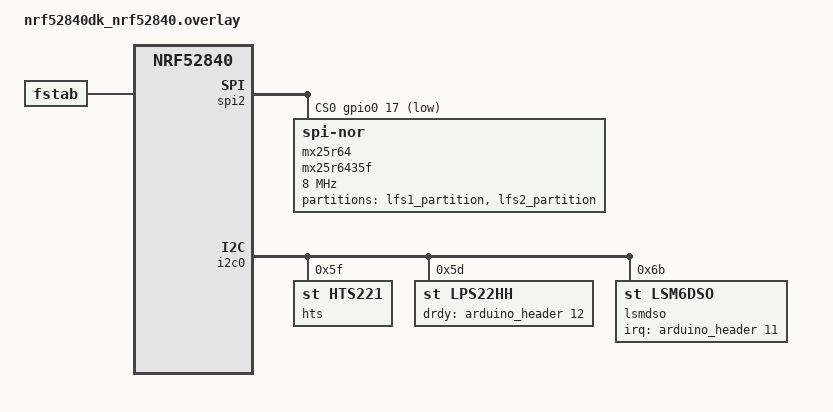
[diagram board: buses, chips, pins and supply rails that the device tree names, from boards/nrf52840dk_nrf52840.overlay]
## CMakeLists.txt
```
cmake_minimum_required(VERSION 3.20.0)

find_package(Zephyr REQUIRED HINTS $ENV{ZEPHYR_BASE})

project(zephyr_lvgl_showcase)

FILE(GLOB app_sources src/*.c)
target_sources(app PRIVATE ${app_sources})
```

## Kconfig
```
module = APP
module-str = APP
source "subsys/logging/Kconfig.template.log_config"

source "Kconfig.zephyr"
```

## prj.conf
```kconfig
CONFIG_MAIN_STACK_SIZE=10240

CONFIG_I2C=y
CONFIG_SENSOR=y
CONFIG_CBPRINTF_FP_SUPPORT=y
CONFIG_LOG=y
CONFIG_SHELL=y
CONFIG_APP_LOG_LEVEL_DBG=y
CONFIG_FLASH=y
CONFIG_FLASH_MAP=y
CONFIG_FILE_SYSTEM=y
CONFIG_FILE_SYSTEM_LITTLEFS=y
CONFIG_FILE_SYSTEM_SHELL=y
```

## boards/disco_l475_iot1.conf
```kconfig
CONFIG_LSM6DSL_TRIGGER_GLOBAL_THREAD=y
```

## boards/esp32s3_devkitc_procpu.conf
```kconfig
CONFIG_LSM6DSO_TRIGGER_GLOBAL_THREAD=y
```

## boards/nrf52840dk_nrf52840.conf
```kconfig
CONFIG_SPI=y
CONFIG_SPI_NOR=y
CONFIG_SPI_NOR_FLASH_LAYOUT_PAGE_SIZE=4096

CONFIG_LSM6DSO_TRIGGER_GLOBAL_THREAD=y
```

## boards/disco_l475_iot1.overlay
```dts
/delete-node/ &boot_partition;
/delete-node/ &slot0_partition;
/delete-node/ &storage_partition;
/delete-node/ &slot1_partition;
/delete-node/ &slot2_partition;

&flash0 {
	partitions {
		compatible = "fixed-partitions";

		boot_partition: partition@0 {
			label = "mcu-boot";
			reg = <0x0 DT_SIZE_K(64)>;
			read-only;
		};
		
		slot0_partition: partition@10000 {
			label = "image-0";
			reg = <0x10000 DT_SIZE_K(100)>;
		};

		slot1_partition: partition@29000 {
			label = "image-1";
			reg = <0x29000 DT_SIZE_K(100)>;
		};

		storage_partition: partition@42000 {
			label = "storage";
			reg = <0x42000 DT_SIZE_K(32)>;
		};

		lfs1_partition: partition@4A000 {
			label = "lfs1";
			reg = <0x4A000 DT_SIZE_K(100)>;
		};
	};
};


/ {
    aliases {
        ht-sensor = &hts;
        pressure-sensor = &lps22hb;
        imu-sensor = &lsm6dsl;
    };
};

&i2c2 {

    hts: hts221@5f {
        compatible = "st,hts221";
        reg = <0x5f>;
        drdy-gpios = <&gpiod 15 GPIO_ACTIVE_HIGH>;
    };

    lps22hb: lps22hb-press@5d {
        compatible = "st,lps22hb-press";
        reg = <0x5d>;
    };

    lsm6dsl: lsm6dsl@6a {
        compatible = "st,lsm6dsl";
        reg = <0x6a>;
        irq-gpios = <&gpiod 11 GPIO_ACTIVE_HIGH>;
    };
};
```

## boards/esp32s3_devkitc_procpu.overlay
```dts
/ {

    aliases {
        ht-sensor = &hts;
        pressure-sensor = &lps22hh;
        imu-sensor = &lsmdso;
    };
};

&i2c0 {
    status = "okay";
    hts: hts221@5f {
        compatible = "st,hts221";
        reg = <0x5f>;
    };

    lps22hh: lps22hh@5d {
        compatible = "st,lps22hh";
        reg = <0x5d>;
        drdy-gpios = <&gpio0 5 GPIO_ACTIVE_HIGH>;
    };

    lsmdso: lsm6dso@6b {
        compatible = "st,lsm6dso";
        reg = <0x6b>;
        irq-gpios = <&gpio0 11 GPIO_ACTIVE_HIGH>;
        int-pin = <2>;
    };
};
```

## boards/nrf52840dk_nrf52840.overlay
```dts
/delete-node/ &mx25r64;

&qspi {
    status = "disabled";
};

/* The mx25, on nrf52840dk/nrf52840, uses pins for spi0, spi1, spi2 and spi3
 * to provide quad-spi feature. In individual specifications each of the spi
 * notes define own clock source (SCK), but spi2 shares the same clock source
 * as qspi configuration, which is pin (0,19). That is why spi2 is used here
 * to communicate with mx25, when qspi is not used, to avoid rerouting clock
 * pin.
 */
&spi2 {
    compatible = "nordic,nrf-spi";
    status = "okay";
    cs-gpios = <&gpio0 17 GPIO_ACTIVE_LOW>;
    pinctrl-0 = <&spi2_default>;
    pinctrl-1 = <&spi2_sleep>;
    pinctrl-names = "default", "sleep";
    mx25r64: mx25r6435f@0 {
        compatible = "jedec,spi-nor";
        reg = <0>;
        spi-max-frequency = <8000000>;
        jedec-id = [c2 28 17];
        sfdp-bfp = [e5 20 f1 ff ff ff ff 03 44 eb 08 6b 08 3b 04 bb
                    ee ff ff ff ff ff 00 ff ff ff 00 ff 0c 20 0f 52
                    10 d8 00 ff 23 72 f5 00 82 ed 04 cc 44 83 68 44
                    30 b0 30 b0 f7 c4 d5 5c 00 be 29 ff f0 d0 ff ff];
        size = <67108864>;
        has-dpd;
        t-enter-dpd = <10000>;
        t-exit-dpd = <35000>;
    };
};

&mx25r64 {
    partitions {
        compatible = "fixed-partitions";
        #address-cells = <1>;
        #size-cells = <1>;

        lfs1_partition: partition@0 {
            label = "lfs1_partition";
            reg = <0x00000000 0x00010000>;
        };
        lfs2_partition: partition@10000 {
            label = "lfs2_partition";
            reg = <0x00010000 0x00010000>;
        };
    };
};

/ {

    aliases {
        ht-sensor = &hts;
        pressure-sensor = &lps22hh;
        imu-sensor = &lsmdso;
    };
};

&i2c0 {
    hts: hts221@5f {
        compatible = "st,hts221";
        reg = <0x5f>;
    };

    lps22hh: lps22hh@5d {
        compatible = "st,lps22hh";
        reg = <0x5d>;
        drdy-gpios = <&arduino_header 12 GPIO_ACTIVE_HIGH>; /* D6 */
    };

    lsmdso: lsm6dso@6b {
        compatible = "st,lsm6dso";
        reg = <0x6b>;
        irq-gpios = <&arduino_header 11 GPIO_ACTIVE_HIGH>; /* D5 */
        int-pin = <2>;
    };
};

/ {
    fstab {
        compatible = "zephyr,fstab";
        lfs1: lfs1 {
            compatible = "zephyr,fstab,littlefs";
            read-size = <16>;
            prog-size = <16>;
            cache-size = <64>;
            lookahead-size = <32>;
            block-cycles = <512>;
            partition = <&lfs1_partition>;
            mount-point = "/lfs1";
            automount;
        };
        lfs2: lfs2 {
            compatible = "zephyr,fstab,littlefs";
            read-size = <16>;
            prog-size = <16>;
            cache-size = <64>;
            lookahead-size = <32>;
            block-cycles = <512>;
            partition = <&lfs2_partition>;
            mount-point = "/lfs2";
            automount;
        };
    };
};
```

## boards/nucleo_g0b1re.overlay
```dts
/delete-node/ &boot_partition;
/delete-node/ &slot0_partition;
/delete-node/ &slot1_partition;
/delete-node/ &storage_partition;

&flash0 {
	partitions {
		compatible = "fixed-partitions";
		#address-cells = <1>;
		#size-cells = <1>;

		boot_partition: partition@0 {
			label = "mcuboot";
			reg = <0x0 DT_SIZE_K(64)>;
			read-only;
		};

		slot0_partition: partition@10000 {
			label = "image-0";
			reg = <0x10000 DT_SIZE_K(64)>;
		};

		slot1_partition: partition@20000 {
			label = "image-1";
			reg = <0x20000 DT_SIZE_K(64)>;
		};

		storage_partition: partition@30000 {
			label = "storage";
			reg = <0x30000 DT_SIZE_K(100)>;
		};

		lfs1_partition: partition@49000 {
			label = "lfs1";
			reg = <0x49000 DT_SIZE_K(100)>;
		};

		lfs2_partition: partition@62000 {
			label = "lfs2";
			reg = <0x62000 DT_SIZE_K(100)>;
		};
	};
};

/ {

    aliases {
        ht-sensor = &hts;
        pressure-sensor = &lps22hh;
        imu-sensor = &lsmdso;
    };
};



arduino_i2c: &i2c1 {
    hts: hts221@5f {
        compatible = "st,hts221";
        reg = <0x5f>;
    };

    lps22hh: lps22hh@5d {
        compatible = "st,lps22hh";
        reg = <0x5d>;
        drdy-gpios = <&arduino_header 12 GPIO_ACTIVE_HIGH>; /* D6 */
    };

    lsmdso: lsm6dso@6b {
        compatible = "st,lsm6dso";
        reg = <0x6b>;
        irq-gpios = <&arduino_header 11 GPIO_ACTIVE_HIGH>; /* D5 */
        int-pin = <2>;
    };
};

/ {
	fstab {
		compatible = "zephyr,fstab";
		lfs1: lfs1 {
			compatible = "zephyr,fstab,littlefs";
			read-size = <256>;
			prog-size = <256>;
			cache-size = <4096>;
			lookahead-size = <256>;
			block-cycles = <512>;
			partition = <&lfs1_partition>;
			mount-point = "/lfs1";
			automount;
		};
		lfs2: lfs2 {
			compatible = "zephyr,fstab,littlefs";
			read-size = <256>;
			prog-size = <256>;
			cache-size = <4096>;
			lookahead-size = <256>;
			block-cycles = <512>;
			partition = <&lfs2_partition>;
			mount-point = "/lfs2";
			automount;
		};
	};
};
```

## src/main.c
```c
/**
 * @file main.c
 * @brief Main module for logger initialization.
 *
 * This module initalizes the mounting and logging
 * the sensor data from respective sensors to the 
 * files in Little FS.
 *
 * @date 15-08-2025
 * @author Stuti Dave
 */

//==============================================================================
// Includes
//==============================================================================

#include <zephyr/device.h>
#include <zephyr/kernel.h>
#include <zephyr/logging/log.h>

//==============================================================================
// Logging Module Register
//==============================================================================

LOG_MODULE_REGISTER(main);

//==============================================================================
// Function Definition
//==============================================================================

/**
 * @brief Main Application
 *
 * This is a functionality to initialize the logger application for 
 * mounting the filesystem on board and log sensor data into files.
 *
 * Returns: 0  Success, logger .
 *         -1  Failure, error logged.
 */

int main(void)
{
	k_msleep(5000);
	LOG_INF("Welcome to zephyr\n");

	if (logger_init() != 0) {
		LOG_ERR("Logger init failed");
		return -1;
	}
	return 0;
}
```

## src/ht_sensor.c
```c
/**
 * @file hum_temp_sensor.c
 * @brief Humidity and Temperature Sensor Processing Module.
 *
 * This module provides functionality to fetch and process data
 * from the onboard HTS221 (or equivalent) humidity/temperature sensor
 * using Zephyr's sensor API.
 *
 * @date 15-08-2025
 * @author Stuti Dave
 */

//==============================================================================
// Includes
//==============================================================================

#include <zephyr/device.h>
#include <zephyr/kernel.h>
#include <zephyr/drivers/sensor.h>
#include <zephyr/logging/log.h>
#include <errno.h>
#include <stdint.h>

//==============================================================================
// Device Tree Bindings
//==============================================================================

#if DT_NODE_EXISTS(DT_ALIAS(ht_sensor))
#define HUM_TEMP_NODE DT_ALIAS(ht_sensor)
static const struct device *const hts_dev = DEVICE_DT_GET(HUM_TEMP_NODE);
#else
#error("Humidity-Temperature sensor not found in device tree.")
#endif

//==============================================================================
// Logging Module Register
//==============================================================================

LOG_MODULE_REGISTER(hum_temp, CONFIG_APP_LOG_LEVEL);

//==============================================================================
// Configuration Constants
//==============================================================================

#define MAX_MSGS              	10     // Maximum number of sensor samples in queue
#define MSGQ_ALIGN            	32     // Align message queue entries
#define HT_SENSOR_PRIORITY	5	// Thread priority for sensor task
#define HT_THREAD_STACK_SIZE  	512    // Stack size for sensor thread

//==============================================================================
// Sensor-data structure
//==============================================================================

typedef struct {
        double humidity;
        double temperature;
} hum_temp_data;

//==============================================================================
// Message Queue
//==============================================================================

// Queue for transferring humidity/temperature readings between threads
struct k_msgq ht_sensor_msgq;
K_MSGQ_DEFINE(ht_sensor_msgq, sizeof(hum_temp_data), MAX_MSGS, MSGQ_ALIGN);

//==============================================================================
// Function Prototypes
//==============================================================================

static int hum_temp_process(hum_temp_data* data_struct);
static void hum_temp_thread(void *, void *, void *);

//==============================================================================
// Function Definitions
//==============================================================================

/**
 * @brief Fetch a humidity and temperature sample from the sensor.
 *
 * This function checks readiness, fetches the latest measurement,
 * and converts it to floating-point values stored in data_struct.
 *
 * Input: data_struct Pointer to store the fetched temperature & humidity.
 *
 * Returns: 0  Success, value stored in data_struct humidity and temperature elements.
 * 	   -1  Failure, error logged.
 */

int hum_temp_process(hum_temp_data* data_struct){
	if (sensor_sample_fetch(hts_dev) < 0)
	{
		LOG_ERR("Faileed to fetch HT sample");
		return -1;
	}
	struct sensor_value temp, hum;
	if (sensor_channel_get(hts_dev, SENSOR_CHAN_AMBIENT_TEMP, &temp) < 0) {
		LOG_ERR("sensor: %s read temperature channel failed", hts_dev->name);
		return -1;
	}
	
	if (sensor_channel_get(hts_dev, SENSOR_CHAN_HUMIDITY, &hum) < 0) {
		LOG_ERR("sensor: %s read humidity channel failed", hts_dev->name);
		return -1;
	}

	/* Store temperature and humidity readings to the data struct */
	data_struct->temperature = sensor_value_to_double(&temp);
	data_struct->humidity = sensor_value_to_double(&hum);

	return 0;
}


//==============================================================================
// Thread Definition
//==============================================================================

/*
 * Definition of Humidty and Temperature thread
 */

K_THREAD_DEFINE(hum_temp_tid, HT_THREAD_STACK_SIZE, hum_temp_thread, 
		NULL, NULL, NULL, 
		HT_SENSOR_PRIORITY, 0, 0);

//==============================================================================
// Thread Function
//==============================================================================

/**
 * @brief Thread function for humidity-temperature sampling.
 *
 * Periodically:
 *  1. Validates sensor readiness.
 *  2. Reads humidity and temperature.
 *  3. Pushes results into the message queue.
 *  4. Sleeps before the next cycle.
 */

void hum_temp_thread(void *, void *, void *)
{
	if (!device_is_ready(hts_dev)) {
                LOG_ERR("sensor: %s device not ready.", hts_dev->name);
                return;
        }

	hum_temp_data data_struct;
	LOG_INF("HT Thread started");

	while (1) 
	{
		if (hum_temp_process(&data_struct) == 0){
			k_msgq_put(&ht_sensor_msgq, &data_struct, K_MSEC(1000));
		}
		LOG_DBG("Humidity: %.2f, Temperature: %.2f", data_struct.humidity, data_struct.temperature);
		k_sleep(K_MSEC(5000));
	}

}
```

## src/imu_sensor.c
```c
/**
 * @file imu_sensor.c
 * @brief IMU (Accelerometer + Gyroscope) sensor processing module.
 *
 * This module provides functionality to fetch and process data
 * from the onboard IMU (e.g., LSM6DSL) using Zephyr's sensor API.
 *
 * It extracts both acceleration (X, Y, Z) and gyroscope (X, Y, Z) readings
 * and stores them in a user-provided @ref three_d struct.
 *
 * @date 15-08-2025
 * author Stuti Dave
 */

//==============================================================================
// Includes
//==============================================================================

#include <zephyr/device.h>
#include <zephyr/kernel.h>
#include <zephyr/drivers/sensor.h>
#include <zephyr/logging/log.h>
#include <errno.h>

//==============================================================================
// Device Tree Bindings
//==============================================================================

#if DT_NODE_EXISTS(DT_ALIAS(imu_sensor))
#define IMU_NODE DT_ALIAS(imu_sensor)
static const struct device *const imu_dev = DEVICE_DT_GET(IMU_NODE);
#else
#error("IMU sensor not found in device tree.")
#endif

//==============================================================================
// Logging Module Register
//==============================================================================

LOG_MODULE_REGISTER(imu, CONFIG_APP_LOG_LEVEL);

//==============================================================================
// Sensor-data structure
//==============================================================================

typedef struct {
    double x, y, z;
} imu_data_t;

typedef struct {
        imu_data_t accel;
        imu_data_t gyro;
} imu_sensor_data;

//==============================================================================
// Configuration Constants
//==============================================================================

#define MAX_MSGS		10			// Maximum number of sensor samples in queue
#define MSG_ALIGN		32			// Align message queue entries
#define MSG_SIZE		sizeof(imu_sensor_data) // Size of message equals struct size
#define IMU_SENSOR_PRIORITY	5			// Thread priority for sensor task
#define IMU_THREAD_STACK_SIZE	1024			// Stack size for sensor thread

//==============================================================================
// Message Queue
//==============================================================================

// Queue for transferring Acelerometer/Gyroscope readings between threads

struct k_msgq imu_sensor_msgq;
K_MSGQ_DEFINE(imu_sensor_msgq, MSG_SIZE, MAX_MSGS, MSG_ALIGN);

//==============================================================================
// Function Prototypes
//==============================================================================

int imu_sensor_process(imu_sensor_data *sensor_data);
void imu_thread(void *, void *, void *);

//==============================================================================
// Function Definition
//==============================================================================

/**
 * @brief Fetch and process IMU sensor readings (accelerometer + gyroscope).
 *
 * This function checks whether the IMU sensor device is ready,
 * fetches the latest sample, and extracts both acceleration and gyroscope
 * values across all three axes (X, Y, Z).
 *
 * Input:  data_struct Pointer to a imu_data_t struct where accelerometer and gyroscope data will be stored.
 *
 * Returns: 0  Success, values stored in accel and gyro elements.
 * 	   -1  Failure, error logged.
 */

int imu_sensor_process(imu_sensor_data *sensor_data)
{

	if (sensor_sample_fetch(imu_dev) < 0) {
		LOG_ERR("sensor: %s sample update error", imu_dev->name);
		return -1;
	}

	/* Fetch channel for accelerometer and gyrometer */
	if (sensor_sample_fetch_chan(imu_dev, SENSOR_CHAN_ACCEL_XYZ) < 0) {
		LOG_ERR("Sensor: %s fetch failed.", imu_dev->name);
		return -1;
	}
	if (sensor_sample_fetch_chan(imu_dev, SENSOR_CHAN_GYRO_XYZ) < 0) {
		LOG_ERR("Sensor: %s fetch failed.", imu_dev->name);
		return -1;
	}
	
	struct sensor_value accel_x, accel_y, accel_z;
	struct sensor_value gyro_x, gyro_y, gyro_z;

	/* Get sensor channel for lsm6dsl accel */
	sensor_channel_get(imu_dev, SENSOR_CHAN_ACCEL_X, &accel_x);
	sensor_channel_get(imu_dev, SENSOR_CHAN_ACCEL_Y, &accel_y);
	sensor_channel_get(imu_dev, SENSOR_CHAN_ACCEL_Z, &accel_z);


	/* Get sensor channel for lsm6dsl gyro */
	sensor_channel_get(imu_dev, SENSOR_CHAN_GYRO_X, &gyro_x);
	sensor_channel_get(imu_dev, SENSOR_CHAN_GYRO_Y, &gyro_y);
	sensor_channel_get(imu_dev, SENSOR_CHAN_GYRO_Z, &gyro_z);

	/* Store accel and gyro readings to the data struct */
	sensor_data->accel.x = sensor_value_to_double(&accel_x);
	sensor_data->accel.y = sensor_value_to_double(&accel_y);
	sensor_data->accel.z = sensor_value_to_double(&accel_z);

	sensor_data->gyro.x = sensor_value_to_double(&gyro_x);
	sensor_data->gyro.y = sensor_value_to_double(&gyro_x);
	sensor_data->gyro.z = sensor_value_to_double(&gyro_x);

	return 0;
}


//==============================================================================
// Thread Definition
//==============================================================================

/*
 * Definition of Accelerometer and Gyroscope thread
 */

K_THREAD_DEFINE(imu_tid, IMU_THREAD_STACK_SIZE, imu_thread, NULL, NULL, NULL, IMU_SENSOR_PRIORITY, 0, 0);

//==============================================================================
// Thread Implementation
//==============================================================================

/**
 * @brief Thread function for IMU sampling.
 *
 * Workflow:
 *  1. Ensure the IMU is ready.
 *  2. Configure sensor attributes (sampling frequency).
 *  3. Periodically fetch accel + gyro readings.
 *  4. Publish results to the message queue.
 */

void imu_thread(void *, void *, void *)
{
	LOG_INF("IMU sensor thread started");
	imu_sensor_data sensor_data;

	if (!device_is_ready(imu_dev)) {
                LOG_ERR("sensor: device not ready.\n");
                return;
        }

        struct sensor_value odr_attr;
        /* set accel/gyro sampling frequency to 104 Hz */
        odr_attr.val1 = 104;
        odr_attr.val2 = 0;

        if (sensor_attr_set(imu_dev, SENSOR_CHAN_ACCEL_XYZ, SENSOR_ATTR_SAMPLING_FREQUENCY, &odr_attr) < 0) {
                LOG_ERR("Cannot set sampling frequency for accelerometer.\n");
                return;
        }

        if (sensor_attr_set(imu_dev, SENSOR_CHAN_GYRO_XYZ, SENSOR_ATTR_SAMPLING_FREQUENCY, &odr_attr) < 0) {
                LOG_ERR("Cannot set sampling frequency for gyro.\n");
                return;
        }
        LOG_INF("IMU sensor Initialized.");

	while(1) {
		if(imu_sensor_process(&sensor_data) == 0) {
			k_msgq_put(&imu_sensor_msgq, &sensor_data, K_MSEC(1000));
		}
		LOG_DBG("Accel: {x:%.2f y:%.2f z:%.2f], Gyro: [x:%.2f y:%.2f z:%.2f]", 
			sensor_data.accel.x, sensor_data.accel.y, sensor_data.accel.z, 
			sensor_data.gyro.x, sensor_data.gyro.y, sensor_data.gyro.z);
		k_sleep(K_MSEC(5000));
	}
}
```

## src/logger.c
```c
/**
 * @file logger.c
 * @brief Logs the data to file in littlefs partition.
 *
 * This file provides the functionality of logging the data 
 * in the shared buffer of sensors to a file created in a little-fs 
 * partition.
 *
 * @date 15-08-2025
 * author Stuti Dave
 */

//==============================================================================
// Includes
//==============================================================================

#include <zephyr/kernel.h>
#include <zephyr/kernel.h>
#include <zephyr/device.h>
#include <zephyr/fs/fs.h>
#include <zephyr/fs/littlefs.h>
#include <zephyr/logging/log.h>
#include <zephyr/storage/flash_map.h>
#include <errno.h>
#include <stdio.h>

//==============================================================================
// Logging Module Register
//==============================================================================

LOG_MODULE_REGISTER(logger);

//==============================================================================
// Structure definitons of sensors
//==============================================================================

/*
 * Structures of HTS221, LPS22HB and LSM6DSL
 */

typedef struct {
        double humidity;
        double temperature;
} hum_temp_data;

typedef struct {
        double pressure;
} press_data;

typedef struct {
    double x, y, z;
} imu_data_t;

typedef struct {
        imu_data_t accel;
        imu_data_t gyro;
} imu_sensor_data;

typedef struct {
        hum_temp_data hts_data;
        press_data lps_data;
        imu_sensor_data imu_data;
} sensors_shared_buf;

//==============================================================================
// External Sensor Queues
//==============================================================================

extern struct k_msgq ht_sensor_msgq;
extern struct k_msgq lp_sensor_msgq;
extern struct k_msgq imu_sensor_msgq;

//==============================================================================
// Configuration Constants
//==============================================================================

/*
 * Constants for sensor data struct and thread
 */
#define SENSORS_BUF_SIZE		sizeof(sensors_shared_buf)
#define SENSORS_THREADS_PRIORITY	5
#define LOGGER_THREAD_STACK_SIZE	(2*1024)

/*
 * Constants for File
 */
#define FILE_SIZE			1024		// Max file size in bytes
#define MAX_FILES			10		// Maximum number of log files

//==============================================================================
// Function Prototypes
//==============================================================================

static void logger_func(sensors_shared_buf *shared_buf);
static void logger_thread(void *, void *, void *);

//==============================================================================
// Internal Helper Functions
//==============================================================================

/**
 * @brief Print a single sensor data record.
 *
 * Logs formatted output of all sensor values for human readability.
 *
 * Input:  fptr			Index of the sample in the file.
 * 	   sensor_buffer	Pointer to the sensor buffer to print.
 */
static void print_sensor_data(size_t *fptr, sensors_shared_buf *sensor_buffer)
{
	// Prints sensor data on console
	LOG_INF("|Sample%d |	Humidity: %.2f	|	Temperature: %.2f |	Pressure: %.2f	|	Accel: [x:%.2f, y:%.2f, z:%.2f]	|	Gyro: [x:%.2f, y:%.2f, z:%.2f] |", 
			*fptr, sensor_buffer->hts_data.humidity, sensor_buffer->hts_data.temperature, sensor_buffer->lps_data.pressure,
			sensor_buffer->imu_data.accel.x, sensor_buffer->imu_data.accel.y, sensor_buffer->imu_data.accel.z, 
			sensor_buffer->imu_data.gyro.x, sensor_buffer->imu_data.gyro.y, sensor_buffer->imu_data.gyro.z);
}

//==============================================================================
// Function Definitions
//==============================================================================

/**
 * @brief Append sensor data to a log file.
 *
 * Opens a LittleFS file, appends new sensor data, and if the file size exceeds
 * a limit, rotates to a new file. Afterwards, it re-reads the file contents
 * and prints them for verification.
 *
 * Input: shared_buf Pointer to the data structure containing all sensor data.
 */


static void logger_func(sensors_shared_buf *shared_buf)
{
	struct fs_file_t file;
	fs_file_t_init(&file);

	char filename[32];
	uint8_t file_num = 1;
	snprintf(filename, sizeof(filename), "/lfs/sensor%d.log", file_num);
	
	int ret = fs_open(&file, filename, FS_O_CREATE | FS_O_WRITE | FS_O_APPEND);
	if (ret < 0) {
		LOG_ERR("Failed to open file /lfs/sensor%d.log: %d", file_num,ret);
		return;
	}

	struct fs_dirent file_entry;
	fs_stat(filename, &file_entry);
	if (file_entry.size >= FILE_SIZE) {
		fs_close(&file);
		
		file_num++;
		
		snprintf(filename, sizeof(filename), "/lfs/sensor%d.log", file_num);
		fs_file_t_init(&file);

		ret = fs_open(&file, filename, FS_O_CREATE | FS_O_WRITE | FS_O_APPEND);
		if (ret < 0) {
			LOG_ERR("Failed to open file /lfs/sensor%d.log: %d", file_num,ret);
			return;
		}
		ret = fs_write(&file, shared_buf, sizeof(sensors_shared_buf));
		file_num++;
	} else {
		ret = fs_write(&file, shared_buf, sizeof(sensors_shared_buf));
                if (ret != sizeof(sensors_shared_buf)) {
                        LOG_ERR("Failed to write file /lfs/sensors.log: %d", ret);
                        // need to close file and return

                        fs_close(&file);
                        return;
                }
	}

	off_t current_fp = fs_tell(&file);
	current_fp = fs_tell(&file);
	fs_seek(&file, 0, FS_SEEK_SET);
	sensors_shared_buf temp_buf = {0};

	for (size_t fptr = 0; fptr < (current_fp / sizeof(sensors_shared_buf)); fptr++ ) {
		if ( fs_read(&file, &temp_buf, sizeof(sensors_shared_buf)) != sizeof(sensors_shared_buf)) {
			LOG_ERR("Incorrect read");
			fs_close(&file);

			return;
		}
		// print sensor data
		print_sensor_data(&fptr, &temp_buf);
	}
	fs_close(&file);
}

//==============================================================================
// Thread Definition
//==============================================================================

/*
 * Definition of Logger thread
 */

K_THREAD_DEFINE(logger_tid, LOGGER_THREAD_STACK_SIZE, logger_thread, 
		NULL, NULL, NULL, 
		SENSORS_THREADS_PRIORITY, 0, 1000);

//==============================================================================
// Thread Function
//==============================================================================

/**
 * @brief Logger thread.
 *
 * Collects data from all sensor queues, aggregates into a single buffer,
 * and writes it into LittleFS periodically.
 */

void logger_thread(void *, void *, void *)
{
	sensors_shared_buf shared_buf;
	LOG_INF("Logger Thread started");
	while (1) {
		k_msgq_get(&ht_sensor_msgq, &shared_buf.hts_data, K_SECONDS(10));
		k_msgq_get(&lp_sensor_msgq, &shared_buf.lps_data, K_SECONDS(10));
		k_msgq_get(&imu_sensor_msgq, &shared_buf.imu_data, K_SECONDS(10));
			
		logger_func(&shared_buf);
		k_sleep(K_SECONDS(60));
	}
}

//==============================================================================
// LittleFS Mount & Flash Management
//==============================================================================

/* Default LittleFS Configuration */
FS_LITTLEFS_DECLARE_DEFAULT_CONFIG(lfs1);

/* LittleFS mount point */
static struct fs_mount_t lfs_mount_pt = {
	.type = FS_LITTLEFS,
	.fs_data = &lfs1,
	.storage_dev = (void *)FIXED_PARTITION_ID(lfs1_partition),
	.mnt_point = "/lfs",
};

/**
 * @brief Erase flash area used by LittleFS.
 *
 * Input: id Partition ID of the flash area to erase.
 *
 * Returns: 0  Success
 * 	   <0  Error code
 */

static int littlefs_flash_erase(unsigned int id)
{
        const struct flash_area *pfa;
        int rc;

        rc = flash_area_open(id, &pfa);
        if (rc < 0) {
                LOG_ERR("FAIL: unable to find flash area %u: %d\n",id, rc);
                return rc;
        }

        LOG_INF("Area %u at 0x%x on %s for %u bytes\n", id, (unsigned int)pfa->fa_off, pfa->fa_dev->name,(unsigned int)pfa->fa_size);

        /* Optional wipe flash contents */
        rc = flash_area_flatten(pfa, 0, pfa->fa_size);
        LOG_INF("Erasing flash area ... %d", rc);

        flash_area_close(pfa);
        return rc;
}

/**
 * @brief Mount LittleFS at given mount point.
 *
 * Attempts to mount; if it fails, erases flash and retries.
 *
 * Input: mp Mount point structure.
 *
 * Returns:  0  Success
 *	    <0  Error code
 */

static int littlefs_mount(struct fs_mount_t *mp)
{
        int rc;

        /* Do not mount if auto-mount has been enabled */
        rc = fs_mount(mp);
        if (rc < 0) {
		rc = littlefs_flash_erase((uintptr_t)mp->storage_dev);
		if (rc < 0) {
			LOG_ERR("Flash erase failed.");
			return rc;
		}
		rc = fs_mount(mp);
                if (rc < 0) {
			LOG_ERR("FAIL: mount id %" PRIuPTR " at %s: %d\n",(uintptr_t)mp->storage_dev, mp->mnt_point, rc);
			return rc;
		}
		LOG_INF("%s is mounted: %d\n", mp->mnt_point, rc);
        } else {
		LOG_INF("%s is mounted: %d\n", mp->mnt_point, rc);
	}
	return 0;
}

//==============================================================================
// Logger Initialization
//==============================================================================

/**
 * @brief Initialize logger module.
 *
 * Mounts LittleFS filesystem before starting logging operations.
 *
 * Returns: 0  Success
 * 	   <0  Error code
 */

int logger_init(void)
{
	int rc;
	    rc = littlefs_mount(&lfs_mount_pt);
	    if (rc < 0) {
		    LOG_ERR("FAIL: mount id %" PRIuPTR " at %s: %d",(uintptr_t)lfs_mount_pt.storage_dev, lfs_mount_pt.mnt_point, rc);
		    return rc;
	    }
	    LOG_INF("%s is mounted: %d", lfs_mount_pt.mnt_point, rc);

	    return 0;
}
```

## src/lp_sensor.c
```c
/**
 * @file pressure_sensor.c
 * @brief Pressure sensor processing module.
 *
 * This module provides functionality to fetch and process data
 * from the onboard pressure sensor using Zephyr's sensor API.
 *
 * It checks device readiness, fetches sensor samples, and converts
 * the pressure value into a double (kPa). The processed data can then
 * be used by application threads or logging subsystems.
 *
 * @date 15-08-2025
 * @author Stuti Dave
 */

//==============================================================================
// Includes
//==============================================================================

#include <zephyr/device.h>
#include <zephyr/kernel.h>
#include <zephyr/drivers/sensor.h>
#include <zephyr/logging/log.h>
#include <errno.h>

//==============================================================================
// Device Tree Bindings
//==============================================================================

#if DT_NODE_EXISTS(DT_ALIAS(pressure_sensor))
#define PRESSURE_NODE DT_ALIAS(pressure_sensor)
static const struct device *const pressure_dev = DEVICE_DT_GET(PRESSURE_NODE);
#else
#error("Pressure sensor not found.");
#endif

//==============================================================================
// Logging Module Register
//==============================================================================

LOG_MODULE_REGISTER(pressure, CONFIG_APP_LOG_LEVEL);

//==============================================================================
// Configuration Constants
//==============================================================================

#define MAX_MSGS			10 	// Maximum number of sensor samples in queue
#define MSGQ_ALIGN      		32 	// Align message queue entries
#define PRESSURE_SENSOR_PRIORITY	5 	// Thread priority for sensor task
#define PRESSURE_THREAD_STACK_SIZE	512 	// Stack size for sensor thread

//==============================================================================
// Sensor-data structure
//==============================================================================

typedef struct {
        double pressure;
} press_data;

//==============================================================================
// Message Queue
//==============================================================================

// Queue for transferring pressure readings between threads
struct k_msgq lp_sensor_msgq;
K_MSGQ_DEFINE(lp_sensor_msgq, sizeof(press_data), MAX_MSGS, MSGQ_ALIGN);

//==============================================================================
// Function Prototypes
//==============================================================================

int pressure_sensor_process(press_data *data_struct);
void pressure_thread(void *, void *, void *);

//==============================================================================
// Function Definitions
//==============================================================================

/**
 * @brief Fetch and process the pressure sensor reading.
 *
 * This function checks whether the pressure sensor device is ready,
 * fetches the latest sample, and extracts the pressure value in kPa.
 *
 * Input: data_struct Pointer to store the fetched pressure.
 *
 * Return: 0  Success, value stored in data_struct pressure element.
 * 	  -1  Failure, error logged.
 */

int pressure_sensor_process(press_data *data_struct)
{
	if (sensor_sample_fetch(pressure_dev) < 0) {
		LOG_INF("sensor: %s sample update error", pressure_dev->name);
		return -1;
	}

	struct sensor_value pressure;
	if (sensor_channel_get(pressure_dev, SENSOR_CHAN_PRESS, &pressure) < 0) {
		LOG_ERR("sensor: %s cannot read pressure channel", pressure_dev->name);
		return -1;
	}

	/* store pressure reading*/
	data_struct->pressure = sensor_value_to_double(&pressure);
	return 0;
}

//==============================================================================
// Thread Definition
//==============================================================================

/*
 * Definition of Pressure thread
 */
K_THREAD_DEFINE(pressure_tid, PRESSURE_THREAD_STACK_SIZE, pressure_thread, 
		NULL, NULL, NULL, 
		PRESSURE_SENSOR_PRIORITY, 0, 0);


//==============================================================================
// Thread Implementation
//==============================================================================

/**
 * @brief Thread function for pressure sampling.
 *
 * Workflow:
 *  1. Ensure the pressure sensor is ready.
 *  2. Periodically fetch a sample and process it.
 *  3. Push the result to the message queue.
 *  4. Sleep before the next iteration.
 */

void pressure_thread(void *, void *, void *)
{
        if (!device_is_ready(pressure_dev)) {
                LOG_ERR("sensor: %s device not ready.", pressure_dev->name);
                return;
        }

        press_data data_struct;
        LOG_INF("LP Thread started");

        while (1)
        {
                if (pressure_sensor_process(&data_struct) == 0){
                        k_msgq_put(&lp_sensor_msgq, &data_struct, K_MSEC(1000));
                }
                LOG_DBG("Pressure: %.2f", data_struct.pressure);
                k_sleep(K_MSEC(5000));
        }

}
```

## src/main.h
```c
#ifndef MAIN_H
#define MAIN_H

/* All the sensor structure definitions */
typedef struct {
        double humidity;
        double temperature;
} hum_temp_data;

typedef struct {
        double pressure;
} press_data;

typedef struct {
    double x, y, z;
} imu_data_t;

typedef struct {
	imu_data_t accel;
	imu_data_t gyro;
} imu_sensor_data;

typedef struct {
        hum_temp_data hts_data;
        press_data lps_data;
        imu_sensor_data imu_data;
} sensors_shared_buf;

int hts_init(void);
int lps_init(void);
int imu_sensor_init(void);
int logger_init(void);
#endif
```

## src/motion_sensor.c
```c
/**
 * @file imu_sensor.c
 * @brief IMU (Accelerometer + Gyroscope) sensor processing module.
 *
 * This module provides functionality to fetch and process data
 * from the onboard IMU (e.g., LSM6DSL) using Zephyr's sensor API.
 *
 * It extracts both acceleration (X, Y, Z) and gyroscope (X, Y, Z) readings
 * and stores them in a user-provided @ref three_d struct.
 *
 * @date 15-08-2025
 * author Stuti Dave
 */

//==============================================================================
// Includes
//==============================================================================

#include <zephyr/device.h>
#include <zephyr/drivers/sensor.h>
#include <zephyr/kernel.h>
#include <zephyr/logging/log.h>
#include <errno.h>

//==============================================================================
// Device Tree Definitions
//==============================================================================

#if DT_NODE_EXISTS(DT_ALIAS(imu_sensor))
#define IMU_NODE DT_ALIAS(imu_sensor)
static const struct device *const imu_dev = DEVICE_DT_GET(IMU_NODE);
#else
#error("IMU sensor not found in device tree.")
#endif

//==============================================================================
// Private Variables
//==============================================================================

LOG_MODULE_REGISTER(imu);

//==============================================================================
// Private Function Prototypes
//==============================================================================

int imu_sensor_process(imu_sensor_data *accel, imu_sensor_data *gyro);

//==============================================================================
// Private Function Implementation
//==============================================================================

/**
 * @brief Fetch and process IMU sensor readings (accelerometer + gyroscope).
 *
 * This function checks whether the IMU sensor device is ready,
 * fetches the latest sample, and extracts both acceleration and gyroscope
 * values across all three axes (X, Y, Z).
 *
 * @param[out] accel Pointer to a @ref three_d struct where accelerometer data will be stored.
 * @param[out] gyro  Pointer to a @ref three_d struct where gyroscope data will be stored.
 *
 * @retval 0  Success, values stored in @p accel and @p gyro.
 * @retval -1 Failure, check logs for details.
 */

int imu_sensor_process(imu_sensor_data *accel, imu_sensor_data *gyro)
{
	if (!device_is_ready(imu_dev)) {
		LOG_ERR("sensor: %s device not ready.", imu_dev->name);
		return -1;
	}

	if (sensor_sample_fetch(imu_dev) < 0) {
		LOG_ERR("sensor: %s sample update error", imu_dev->name);
		return -1;
	}

	/* Fetch channel for accelerometer and gyrometer */
	if (sensor_sample_fetch_chan(imu_dev, SENSOR_CHAN_ACCEL_XYZ) < 0) {
		LOG_ERR("Sensor: %s fetch failed.", imu_dev->name);
		return -1;
	}
	char out_str[64];	
	struct sensor_value accel_x, accel_y, accel_z;
	struct sensor_value gyro_x, gyro_y, gyro_z;

    /* lsm6dsl accel */
    sensor_sample_fetch_chan(imu_dev, SENSOR_CHAN_ACCEL_XYZ);
    sensor_channel_get(imu_dev, SENSOR_CHAN_ACCEL_X, &accel_x);
    sensor_channel_get(imu_dev, SENSOR_CHAN_ACCEL_Y, &accel_y);
    sensor_channel_get(imu_dev, SENSOR_CHAN_ACCEL_Z, &accel_z);

    sprintf(out_str, "accel x:%f ms/2 y:%f ms/2 z:%f ms/2", sensor_value_to_double(&accel_x),
            sensor_value_to_double(&accel_y), sensor_value_to_double(&accel_z));


    /* lsm6dsl gyro */
    //sensor_sample_fetch_chan(imu_dev, SENSOR_CHAN_GYRO_XYZ);
    sensor_channel_get(imu_dev, SENSOR_CHAN_GYRO_X, &gyro_x);
    sensor_channel_get(imu_dev, SENSOR_CHAN_GYRO_Y, &gyro_y);
    sensor_channel_get(imu_dev, SENSOR_CHAN_GYRO_Z, &gyro_z);

    sprintf(out_str, "gyro x:%f dps y:%f dps z:%f dps", sensor_value_to_double(&gyro_x),
            sensor_value_to_double(&gyro_y), sensor_value_to_double(&gyro_z));

    accel->x = sensor_value_to_double(&accel_x);
    accel->y = sensor_value_to_double(&accel_y);
    accel->z = sensor_value_to_double(&accel_z);

    gyro->x = sensor_value_to_double(&gyro_x);
    gyro->y = sensor_value_to_double(&gyro_x);
    gyro->z = sensor_value_to_double(&gyro_x);
    
    return 0;
}
```

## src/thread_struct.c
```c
/**
 * @file sensor_threads.c
 * @brief Sensor threads for humidity/temperature, pressure, and IMU.
 *
 * This module defines three threads, each responsible for reading
 * sensor data (humidity/temperature, pressure, IMU). The results are
 * stored in a shared buffer protected by a semaphore to ensure
 * thread-safe access.
 *
 * @date 15-08-2025
 * @author Stuti Dave
 */

#include <zephyr/kernel.h>
#include <stdint.h>

/* -------------------------------------------------------------------------- */
/* Structure and shared buffer definitions for threads                        */
/* -------------------------------------------------------------------------- */

/**
 * @brief Structure for storing IMU sensor data (x, y, z).
 */
typedef struct {
    double x;
    double y;
    double z;
}imu_sensor_data;

/**
 * @brief Shared buffer for sensor readings.
 *
 * This structure stores humidity, temperature, pressure,
 * accelerometer, and gyroscope values.
 */
struct shared_buf {
    double hum;
    double temp;
    double pressure;
    imu_sensor_data accel;
    imu_sensor_data gyro;
};

/* -------------------------------------------------------------------------- */
/* External Sensor Functions (Implemented in Sensor Drivers)                  */
/* -------------------------------------------------------------------------- */

/**
 * @brief Fetch humidity and temperature readings.
 *
 * @param[out] temp Pointer to store temperature reading.
 * @param[out] hum  Pointer to store humidity reading.
 * @return 0 on success, -1 on failure.
 */
int hum_temp_process(double *temp, double *hum);

/**
 * @brief Fetch pressure reading.
 *
 * @param[out] press Pointer to store pressure reading.
 * @return 0 on success, -1 on failure.
 */
int pressure_sensor_process(double *press);

/**
 * @brief Fetch accelerometer and gyroscope readings.
 *
 * @param[out] accel Pointer to store accelerometer data (x, y, z).
 * @param[out] gyro  Pointer to store gyroscope data (x, y, z).
 * @return 0 on success, -1 on failure.
 */
int imu_sensor_process(imu_sensor_data *accel, imu_sensor_data *gyro);

/* -------------------------------------------------------------------------- */
/* Shared Resources                                                           */
/* -------------------------------------------------------------------------- */

/** Shared buffer holding latest sensor readings. */
struct shared_buf sensors_shared_buf;

/** Semaphore to protect access to shared buffer. */
struct k_sem buffer_sem;

/* -------------------------------------------------------------------------- */
/* Sensor Threads                                                             */
/* -------------------------------------------------------------------------- */

/**
 * @brief Thread for humidity and temperature sensor.
 *
 * Periodically fetches humidity and temperature values and updates
 * the shared buffer safely using the semaphore.
 */
static void hum_temp_thread(void *a, void *b, void *c)
{
	while (1) {
		k_sem_take(&buffer_sem, K_FOREVER);
		hum_temp_process(&sensors_shared_buf.temp, &sensors_shared_buf.hum);
		k_sem_give(&buffer_sem);
		k_msleep(1000); /* 1 second delay */
	}
}

/**
 * @brief Thread for pressure sensor.
 *
 * Periodically fetches pressure value and updates
 * the shared buffer safely using the semaphore.
 */
static void pressure_thread(void *a, void *b, void *c)
{
	while (1) {
		k_sem_take(&buffer_sem, K_FOREVER);
		pressure_sensor_process(&sensors_shared_buf.pressure);
		k_sem_give(&buffer_sem);
		k_msleep(1000); /* 1 second delay */
	}
}

/**
 * @brief Thread for IMU sensor (accelerometer + gyroscope).
 *
 * Periodically fetches accelerometer and gyroscope values and updates
 * the shared buffer safely using the semaphore.
 */
static void imu_thread(void *a, void *b, void *c)
{
	while (1) {
		k_sem_take(&buffer_sem, K_FOREVER);
		imu_sensor_process(&sensors_shared_buf.accel, &sensors_shared_buf.gyro);
		k_sem_give(&buffer_sem);
		k_msleep(1000); /* 1 second delay */
	}
}

/* -------------------------------------------------------------------------- */
/* Thread Definitions (Auto-start with K_THREAD_DEFINE)                       */
/* -------------------------------------------------------------------------- */

K_THREAD_DEFINE(hum_temp_tid, 1024, hum_temp_thread, NULL, NULL, NULL, 5, 0, 0);
K_THREAD_DEFINE(pressure_tid, 1024, pressure_thread, NULL, NULL, NULL, 5, 0, 0);
K_THREAD_DEFINE(imu_tid, 1024, imu_thread, NULL, NULL, NULL, 5, 0, 0);

/* -------------------------------------------------------------------------- */
/* Initialization                                                             */
/* -------------------------------------------------------------------------- */

/**
 * @brief Initialize sensor threads and synchronization mechanisms.
 *
 * This function must be called before sensor threads start updating
 * the shared buffer. It initializes the semaphore used to guard
 * concurrent access.
 */
void sensor_threads(void)
{
	k_sem_init(&buffer_sem, 1, 1);
}
```

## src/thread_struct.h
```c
#ifndef THREAD_STRUCT_H
#define THREAD_STRUCT_H

#include <stdint.h>

/**
 * @brief Structure for storing IMU sensor data (x, y, z).
 */
typedef struct {
    double x;
    double y;
    double z;
}imu_sensor_data;

/**
 * @brief Shared buffer for sensor readings.
 *
 * This structure stores humidity, temperature, pressure,
 * accelerometer, and gyroscope values.
 */
struct shared_buf {
    double hum;
    double temp;
    double pressure;
    imu_sensor_data accel;
    imu_sensor_data gyro;
};

/**
 * @brief Start sensor threads.
 *
 * This function initializes and starts the sensor threads
 * that update the shared buffer.
 */
void sensor_threads(void);

#endif	/* THREAD_STRUCT_H */
```
